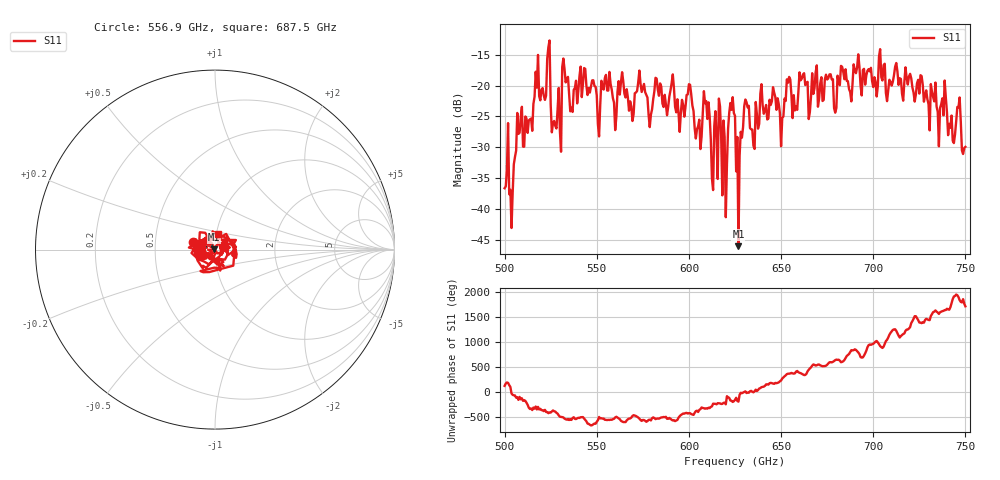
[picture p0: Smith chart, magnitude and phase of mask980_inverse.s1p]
!Created with skrf (http://scikit-rf.org).
# GHz S MA R 50.0
!freq magS11 angS11
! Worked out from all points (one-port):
!   401 points, 500 GHz to 750 GHz, reference 50 ohm
!   lowest |S11| = -46.0 dB at 626.9 GHz (marker M1), VSWR 1.01, Z = 49.5 + j0.0988 ohm
!   |S11| at or under -10 dB: start of sweep to end of sweep
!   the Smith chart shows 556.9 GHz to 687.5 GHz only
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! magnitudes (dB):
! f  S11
! 500 GHz  -36.6
! 503.8 GHz  -43.1
! 508.1 GHz  -27.6
! 513.8 GHz  -25.5
! 516.9 GHz  -17.8
! 523.8 GHz  -13.8
! 526.9 GHz  -25.7
! 531.2 GHz  -17.0
! 562.5 GHz  -21.5
! 593.8 GHz  -22.2
! 600 GHz  -19.8
! 605 GHz  -26.6
! 609.4 GHz  -22.5
! 612.5 GHz  -35.1
! 615.6 GHz  -35.1
! 619.4 GHz  -28.3
! 622.5 GHz  -22.8
! 625 GHz  -24.9
! 626.9 GHz  -46.0
! 631.2 GHz  -22.7
! 634.4 GHz  -27.1
! 640 GHz  -23.2
! 656.2 GHz  -25.3
! 687.5 GHz  -21.0
! 718.8 GHz  -19.8
! 743.1 GHz  -28.9
! 746.2 GHz  -23.5
! 750 GHz  -29.9
